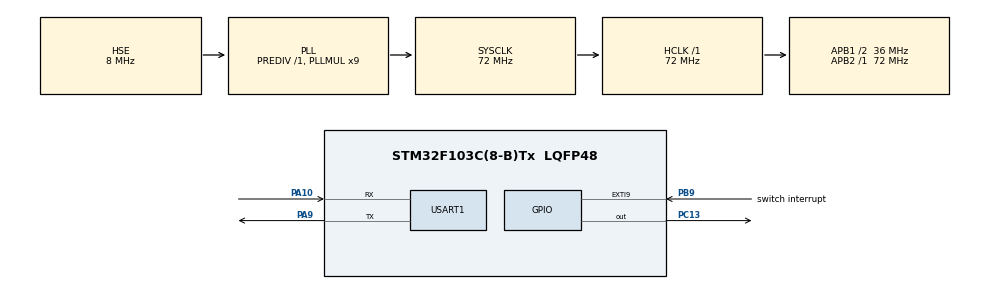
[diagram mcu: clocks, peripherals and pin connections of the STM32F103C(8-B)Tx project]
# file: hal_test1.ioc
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Mcu.Family=STM32F1
Mcu.Name=STM32F103C(8-B)Tx
Mcu.Package=LQFP48
NVIC.EXTI9_5_IRQn=true\:0\:0\:false\:false\:true\:true\:true\:true
NVIC.PriorityGroup=NVIC_PRIORITYGROUP_4
NVIC.USART1_IRQn=true\:0\:0\:false\:false\:true\:true\:true\:true
PA10.Mode=Asynchronous
PA10.Signal=USART1_RX
PA13.Mode=Serial_Wire
PA13.Signal=SYS_JTMS-SWDIO
PA14.Mode=Serial_Wire
PA14.Signal=SYS_JTCK-SWCLK
PA9.Mode=Asynchronous
PA9.Signal=USART1_TX
PB9.GPIO_Label=switch interrupt
PB9.GPIO_PuPd=GPIO_NOPULL
PB9.Signal=GPXTI9
PC13-TAMPER-RTC.Signal=GPIO_Output
PD0-OSC_IN.Mode=HSE-External-Oscillator
PD0-OSC_IN.Signal=RCC_OSC_IN
PD1-OSC_OUT.Mode=HSE-External-Oscillator
PD1-OSC_OUT.Signal=RCC_OSC_OUT
ProjectManager.HeapSize=0x200
ProjectManager.StackSize=0x400
ProjectManager.TargetToolchain=MDK-ARM V5.32
RCC.AHBFreq_Value=72000000
RCC.APB1CLKDivider=RCC_HCLK_DIV2
RCC.APB1Freq_Value=36000000
RCC.APB1TimFreq_Value=72000000
RCC.APB2Freq_Value=72000000
RCC.APB2TimFreq_Value=72000000
RCC.HCLKFreq_Value=72000000
RCC.PLLMUL=RCC_PLL_MUL9
RCC.PLLSourceVirtual=RCC_PLLSOURCE_HSE
RCC.SYSCLKFreq_VALUE=72000000
RCC.SYSCLKSource=RCC_SYSCLKSOURCE_PLLCLK
RCC.USBFreq_Value=72000000
USART1.VirtualMode=VM_ASYNC
board=custom

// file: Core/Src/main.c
/* USER CODE BEGIN Header */
/**
  ******************************************************************************
  * @file           : main.c
  * @brief          : Main program body
  ******************************************************************************
  * @attention
  *
  * Copyright (c) 2024 STMicroelectronics.
  * All rights reserved.
  *
  * This software is licensed under terms that can be found in the LICENSE file
  * in the root directory of this software component.
  * If no LICENSE file comes with this software, it is provided AS-IS.
  *
  ******************************************************************************
  */
/* USER CODE END Header */
#include "main.h"
#include "usart.h"
#include "gpio.h"

/* USER CODE BEGIN Includes */
#include <string.h>
#include <thread.h>
#define RXBUFFERSIZE  256     //最大接收字节数
#define  LED_ON  HAL_GPIO_WritePin(GPIOC, GPIO_PIN_13, GPIO_PIN_RESET)
#define  LED_OFF  HAL_GPIO_WritePin(GPIOC, GPIO_PIN_13, GPIO_PIN_SET)
char RxBuffer[RXBUFFERSIZE];   //接收数据
uint8_t aRxBuffer;			//接收中断缓冲
uint8_t Uart1_Rx_Cnt = 0;		//接收缓冲计数

/* USER CODE END Includes */

/* USER CODE BEGIN PTD */
losTask *currentTask;
losTask *nextTask;
losTask *taskTable[2];
void delay(int count){
	while(--count);
}

losTask task1;
losTask task2;
stack_task task1Env[1024];
stack_task task2Env[1024];

int task1Flag;
int task2Flag;
void task1Entry(void *param){
	for(;;){
		task1Flag = !task1Flag;
		HAL_Delay(100);
		printf("this is task_1\r\n");
		los_task_sched();
	}
};
void task2Entry(void *param){
	for(;;){
		task2Flag = !task2Flag;
		HAL_Delay(100);

			printf("this is task_2\r\n");
		los_task_sched();
	}
};
int test;

/* USER CODE END PTD */

void SystemClock_Config(void);

/* USER CODE BEGIN 0 */
void HAL_UART_RxCpltCallback(UART_HandleTypeDef *huart);
/* USER CODE END 0 */

int main(void)
{

  /* MCU Configuration--------------------------------------------------------*/

  /* Reset of all peripherals, Initializes the Flash interface and the Systick. */
  HAL_Init();

  /* Configure the system clock */
  SystemClock_Config();

  /* Initialize all configured peripherals */
  MX_GPIO_Init();
  MX_USART1_UART_Init();
  /* USER CODE BEGIN 2 */
	HAL_UART_Receive_IT(&huart1, (uint8_t *)&aRxBuffer, 1);

  /* USER CODE END 2 */

  /* Infinite loop */
  /* USER CODE BEGIN WHILE */

	//任务初始化
	test = &task1Env[1024];
	los_task_init(&task1,task1Entry,(void *)0x11111111,&task1Env[1024]);
	los_task_init(&task2,task2Entry,(void *)0x22222222,&task2Env[1024]);

	//初始化任务数组
	taskTable[0] = &task1;
	taskTable[1] = &task2;

	//赋值nextTask
	nextTask = taskTable[0];

	los_task_run();

	return 0;

}

void SystemClock_Config(void)
{
  RCC_OscInitTypeDef RCC_OscInitStruct = {0};
  RCC_ClkInitTypeDef RCC_ClkInitStruct = {0};

  /** Initializes the RCC Oscillators according to the specified parameters
  * in the RCC_OscInitTypeDef structure.
  */
  RCC_OscInitStruct.OscillatorType = RCC_OSCILLATORTYPE_HSE;
  RCC_OscInitStruct.HSEState = RCC_HSE_ON;
  RCC_OscInitStruct.HSEPredivValue = RCC_HSE_PREDIV_DIV1;
  RCC_OscInitStruct.HSIState = RCC_HSI_ON;
  RCC_OscInitStruct.PLL.PLLState = RCC_PLL_ON;
  RCC_OscInitStruct.PLL.PLLSource = RCC_PLLSOURCE_HSE;
  RCC_OscInitStruct.PLL.PLLMUL = RCC_PLL_MUL9;
  if (HAL_RCC_OscConfig(&RCC_OscInitStruct) != HAL_OK)
  {
    Error_Handler();
  }

  /** Initializes the CPU, AHB and APB buses clocks
  */
  RCC_ClkInitStruct.ClockType = RCC_CLOCKTYPE_HCLK|RCC_CLOCKTYPE_SYSCLK
                              |RCC_CLOCKTYPE_PCLK1|RCC_CLOCKTYPE_PCLK2;
  RCC_ClkInitStruct.SYSCLKSource = RCC_SYSCLKSOURCE_PLLCLK;
  RCC_ClkInitStruct.AHBCLKDivider = RCC_SYSCLK_DIV1;
  RCC_ClkInitStruct.APB1CLKDivider = RCC_HCLK_DIV2;
  RCC_ClkInitStruct.APB2CLKDivider = RCC_HCLK_DIV1;

  if (HAL_RCC_ClockConfig(&RCC_ClkInitStruct, FLASH_LATENCY_2) != HAL_OK)
  {
    Error_Handler();
  }
}

/* USER CODE BEGIN 4 */

void HAL_UART_RxCpltCallback(UART_HandleTypeDef *huart)
{
  /* Prevent unused argument(s) compilation warning */
  UNUSED(huart);
  /* NOTE: This function Should not be modified, when the callback is needed,
           the HAL_UART_TxCpltCallback could be implemented in the user file
   */

	if(Uart1_Rx_Cnt >= 255)  //溢出判断
	{
		Uart1_Rx_Cnt = 0;
		memset(RxBuffer,0x00,sizeof(RxBuffer));
		HAL_UART_Transmit(&huart1, (uint8_t *)"数据溢出", 10,0xFFFF);

	}
	else
	{
		RxBuffer[Uart1_Rx_Cnt++] = aRxBuffer;   //接收数据转存

		if((RxBuffer[Uart1_Rx_Cnt-1] == 0x0A)&&(RxBuffer[Uart1_Rx_Cnt-2] == 0x0D)) //判断结束位
		{
			HAL_UART_Transmit(&huart1, (uint8_t *)&RxBuffer, Uart1_Rx_Cnt,0xFFFF); //将收到的信息发送出去
            while(HAL_UART_GetState(&huart1) == HAL_UART_STATE_BUSY_TX);//检测UART发送结束
			Uart1_Rx_Cnt = 0;
			memset(RxBuffer,0x00,sizeof(RxBuffer)); //清空数组
		}
	}

	HAL_UART_Receive_IT(&huart1, (uint8_t *)&aRxBuffer, 1);   //再开启接收中断
}

void HAL_GPIO_EXTI_Callback(uint16_t GPIO_Pin)
{
	if( GPIO_Pin == switch_interrupt_Pin)//判断外部中断源
	{
		HAL_GPIO_TogglePin(GPIOA, GPIO_PIN_5);//翻转PA5状态
	}
}

/* USER CODE END 4 */

void Error_Handler(void)
{
  __disable_irq();
  while (1)
  {
  }
}
